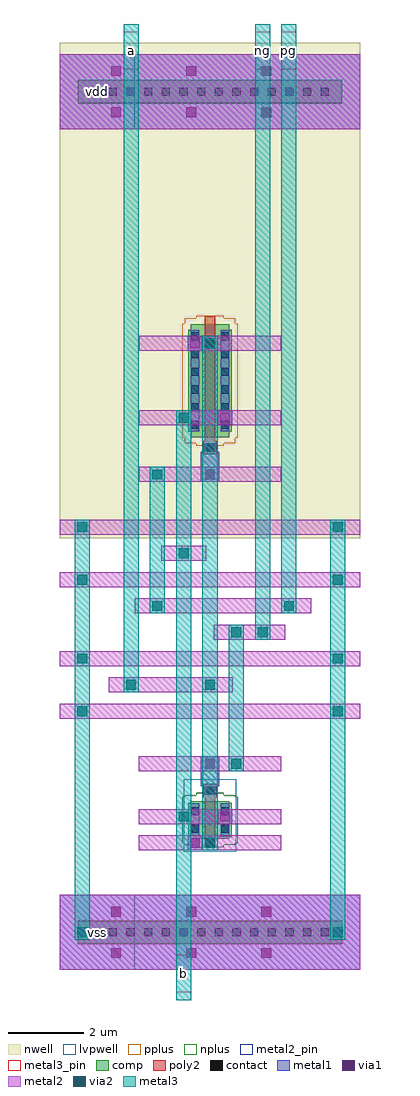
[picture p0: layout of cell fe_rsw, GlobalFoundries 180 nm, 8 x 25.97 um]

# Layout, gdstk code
import gdstk
lib = gdstk.Library(unit=1e-6, precision=1e-09)
def R(c, l, rs):  # rectangles x0, y0, x1, y1
    for r in rs: c.add(gdstk.rectangle(r[:2], r[2:], *l))
def A(c, l, x, y, w, h, nx, ny, dx, dy):  # array of equal rectangles
    R(c, l, [(x+i*dx, y+j*dy, x+i*dx+w, y+j*dy+h) for i in range(nx) for j in range(ny)])
nwell = (21, 0)
comp = (22, 0)
poly2 = (30, 0)
pplus = (31, 0)
nplus = (32, 0)
contact = (33, 0)
metal1 = (34, 0)
via1 = (35, 0)
metal2 = (36, 0)
metal2_pin = (36, 10)
via2 = (38, 0)
metal3 = (42, 0)
metal3_pin = (42, 10)
lvpwell = (204, 0)

nfet_03v3_4jyfu7 = lib.new_cell('nfet_03v3_4JYFU7')
R(nfet_03v3_4jyfu7, comp, [(-0.515,-0.62,0.515,-0.575), (-0.58,-0.575,0.58,0.335), (-0.515,0.335,0.515,0.38)])
R(nfet_03v3_4jyfu7, poly2, [(-0.14,-0.84,0.14,0.48), (-0.18,0.48,0.18,0.84)])
R(nfet_03v3_4jyfu7, nplus, [(-0.37,-0.85,0.37,-0.78), (-0.675,-0.78,0.675,-0.735), (-0.74,-0.735,0.74,0.495), (-0.675,0.495,0.675,0.54), (-0.37,0.54,0.37,0.61)])
R(nfet_03v3_4jyfu7, contact, [(-0.51,-0.465,-0.29,-0.245), (0.29,-0.465,0.51,-0.245), (-0.51,0.005,-0.29,0.225), (0.29,0.005,0.51,0.225), (-0.11,0.55,0.11,0.77)])
R(nfet_03v3_4jyfu7, metal1, [(-0.515,-0.565,-0.285,0.325), (0.285,-0.565,0.515,0.325), (-0.17,0.545,0.17,0.775)])
R(nfet_03v3_4jyfu7, lvpwell, [(-0.7,-0.96,0.7,0.96)])

pfet_03v3_3sljfc = lib.new_cell('pfet_03v3_3SLJFC')
R(pfet_03v3_3sljfc, nwell, [(-1.01,-2.27,1.01,2.27)])
R(pfet_03v3_3sljfc, comp, [(-0.515,-1.62,0.515,-1.475), (-0.58,-1.475,0.58,1.235), (-0.515,1.235,0.515,1.38)])
R(pfet_03v3_3sljfc, poly2, [(-0.14,-1.84,0.14,1.48), (-0.18,1.48,0.18,1.84)])
R(pfet_03v3_3sljfc, pplus, [(-0.37,-1.85,0.37,-1.78), (-0.675,-1.78,0.675,-1.635), (-0.74,-1.635,0.74,1.395), (-0.675,1.395,0.675,1.54), (-0.37,1.54,0.37,1.61)])
A(pfet_03v3_3sljfc, contact, -0.51, -1.405, 0.22, 0.22, 1, 6, 0, 0.47)
A(pfet_03v3_3sljfc, contact, 0.29, -1.405, 0.22, 0.22, 1, 6, 0, 0.47)
R(pfet_03v3_3sljfc, contact, [(-0.11,1.55,0.11,1.77)])
R(pfet_03v3_3sljfc, metal1, [(-0.515,-1.465,-0.285,1.225), (0.285,-1.465,0.515,1.225), (-0.17,1.545,0.17,1.775)])

fe_rsw = lib.new_cell('fe_rsw')
R(fe_rsw, nwell, [(-4,10.485,4,23.67)])
R(fe_rsw, comp, [(-3.5,-0.3,3.5,0.3), (-3.5,22.07,3.5,22.67)])
R(fe_rsw, pplus, [(-3.52,-0.32,3.52,0.32)])
R(fe_rsw, nplus, [(-3.52,22.05,3.52,22.69)])
A(fe_rsw, contact, -3.165, -0.11, 0.22, 0.22, 14, 2, 0.47, 22.37)
R(fe_rsw, metal1, [(-4,-1,4,1), (-0.59,2.19,-0.21,2.57), (-0.515,2.57,-0.285,2.65), (0.21,2.89,0.59,3.27), (-0.115,3.665,0.115,3.885), (-0.24,3.885,0.24,4.675), (-0.24,11.995,0.24,12.785), (-0.115,12.785,0.115,13.015), (0.21,13.5,0.59,13.88), (-0.59,15.48,-0.21,15.86), (-4,21.37,4,23.37)])
A(fe_rsw, via1, -2.63, -0.68, 0.26, 0.26, 3, 2, 2, 1.1)
A(fe_rsw, via1, -2.63, 21.69, 0.26, 0.26, 3, 2, 2, 1.1)
R(fe_rsw, via1, [(-0.53,2.25,-0.27,2.51), (0.27,2.95,0.53,3.21), (-0.13,4.355,0.13,4.615), (-0.13,12.055,0.13,12.315), (0.27,13.56,0.53,13.82), (-0.53,15.54,-0.27,15.8)])
R(fe_rsw, metal2, [(-4,-1,4,1), (-1.9,2.18,1.9,2.58), (-1.9,2.88,1.9,3.28), (-1.9,4.285,1.9,4.685), (-4,5.685,4,6.085), (-2.7,6.385,0.6,6.785), (-4,7.085,4,7.485), (0.1,7.785,2,8.185), (-2,8.485,2.7,8.885), (-4,9.185,4,9.585), (-1.3,9.885,-0.1,10.285), (-4,10.585,4,10.985), (-1.9,11.985,1.9,12.385), (-1.9,13.49,1.9,13.89), (-1.9,15.47,1.9,15.87), (-4,21.37,4,23.37)])
R(fe_rsw, metal2_pin, [(-4,-1,-2,1), (-4,21.37,-2,23.37)])
R(fe_rsw, via2, [(-3.53,-0.13,-3.27,0.13), (3.27,-0.13,3.53,0.13), (-0.13,2.25,0.13,2.51), (-0.83,2.95,-0.57,3.21), (0.57,4.355,0.83,4.615), (-3.53,5.755,-3.27,6.015), (3.27,5.755,3.53,6.015), (-2.23,6.455,-1.97,6.715), (-0.13,6.455,0.13,6.715), (-3.53,7.155,-3.27,7.415), (3.27,7.155,3.53,7.415), (0.57,7.855,0.83,8.115), (1.27,7.855,1.53,8.115), (-1.53,8.555,-1.27,8.815), (1.97,8.555,2.23,8.815), (-3.53,9.255,-3.27,9.515), (3.27,9.255,3.53,9.515), (-0.83,9.955,-0.57,10.215), (-3.53,10.655,-3.27,10.915), (3.27,10.655,3.53,10.915), (-1.53,12.055,-1.27,12.315), (-0.83,13.56,-0.57,13.82), (-0.13,15.54,0.13,15.8)])
R(fe_rsw, metal3, [(-0.9,-1.8,-0.5,13.89), (-3.6,-0.2,-3.2,10.985), (3.2,-0.2,3.6,10.985), (-0.2,2.18,0.2,15.87), (0.5,4.285,0.9,8.185), (-2.3,6.385,-1.9,24.17), (1.2,7.785,1.6,24.17), (-1.6,8.485,-1.2,12.385), (1.9,8.485,2.3,24.17)])
R(fe_rsw, metal3_pin, [(-0.9,-1.6,-0.5,-0.6), (-2.3,22.97,-1.9,23.97), (1.2,22.97,1.6,23.97), (1.9,22.97,2.3,23.97)])
fe_rsw.add(gdstk.Reference(nfet_03v3_4jyfu7, (0,3.11)))
fe_rsw.add(gdstk.Reference(pfet_03v3_3sljfc, (0,14.56), x_reflection=True))
fe_rsw.add(gdstk.Label('a', (-2.1,23.47), layer=42, texttype=10))
fe_rsw.add(gdstk.Label('ng', (1.4,23.47), layer=42, texttype=10))
fe_rsw.add(gdstk.Label('pg', (2.1,23.47), layer=42, texttype=10))
fe_rsw.add(gdstk.Label('b', (-0.7,-1.1), layer=42, texttype=10))
fe_rsw.add(gdstk.Label('vss', (-3,0), layer=36, texttype=10))
fe_rsw.add(gdstk.Label('vdd', (-3,22.37), layer=36, texttype=10))

lib.write_gds('fe_rsw.gds')
